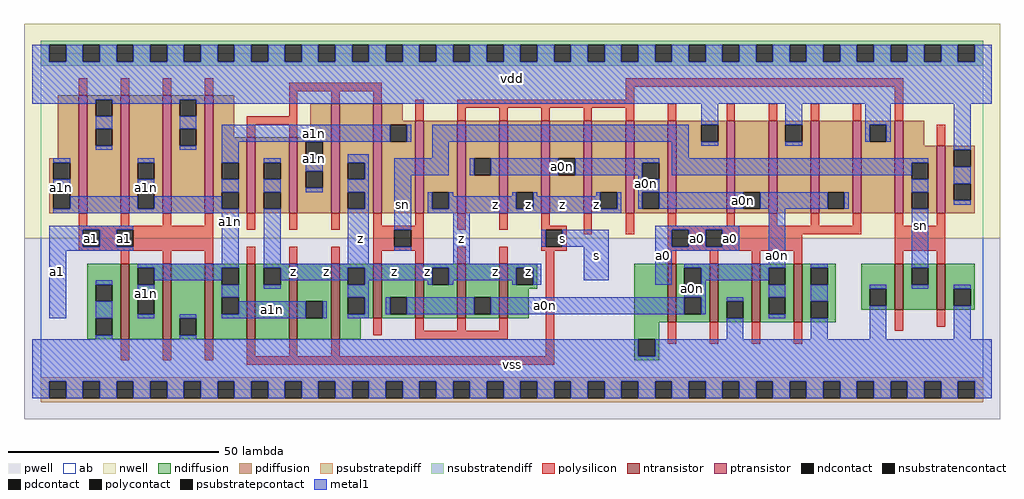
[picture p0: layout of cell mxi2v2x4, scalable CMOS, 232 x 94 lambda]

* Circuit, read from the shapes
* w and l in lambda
.subckt mxi2v2x4 a0 a0n a1 a1n s sn vdd vss z
M1 a1n a1 vss vss nfet w=18 l=2 m=3
M2 z s a1n vss nfet w=18 l=2 m=3
M3 a0n sn z vss nfet w=13 l=2 m=4
M4 a0n a0 vss vss nfet w=14 l=2 m=4
M5 sn s vss vss nfet w=11 l=2 m=2
M6 vdd a1 a1n vdd pfet w=28 l=2 m=4
M7 z sn a1n vdd pfet w=18 l=2 m=2
M8 z sn a1n vdd pfet w=26 l=2 m=2
M9 z sn a1n vdd pfet w=22 l=2
M10 a0n s z vdd pfet w=22 l=2 m=5
M11 vdd a0 a0n vdd pfet w=22 l=2 m=5
M12 sn s vdd vdd pfet w=22 l=2
M13 vdd s sn vdd pfet w=16 l=2
.ends

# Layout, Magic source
magic
tech scmos
<< ab >>
rect 0 0 224 80
<< pwell >>
rect -4 -7 228 36
<< nwell >>
rect -4 36 228 87
<< polysilicon >>
rect 9 70 11 74
rect 19 70 21 74
rect 29 70 31 74
rect 39 70 41 74
rect 59 71 81 73
rect 59 65 61 71
rect 69 68 71 71
rect 79 68 81 71
rect 139 72 205 74
rect 139 69 141 72
rect 49 63 61 65
rect 49 60 51 63
rect 59 60 61 63
rect 89 64 91 69
rect 99 67 141 69
rect 99 64 101 67
rect 109 64 111 67
rect 119 64 121 67
rect 129 64 131 67
rect 139 64 141 67
rect 149 64 151 68
rect 163 64 165 68
rect 173 64 175 68
rect 183 64 185 68
rect 193 64 195 68
rect 203 64 205 72
rect 213 58 215 63
rect 9 39 11 42
rect 19 39 21 42
rect 29 39 31 42
rect 39 39 41 42
rect 9 38 41 39
rect 49 38 51 42
rect 59 38 61 42
rect 69 38 71 42
rect 79 39 81 42
rect 89 39 91 42
rect 79 38 91 39
rect 99 38 101 42
rect 109 38 111 42
rect 119 39 121 42
rect 119 38 125 39
rect 9 34 10 38
rect 14 34 18 38
rect 22 34 41 38
rect 79 34 84 38
rect 88 34 91 38
rect 119 34 120 38
rect 124 34 125 38
rect 129 37 131 42
rect 139 37 141 42
rect 149 39 151 42
rect 163 39 165 42
rect 173 39 175 42
rect 183 39 185 42
rect 193 39 195 42
rect 149 38 195 39
rect 9 33 41 34
rect 19 30 21 33
rect 29 30 31 33
rect 39 30 41 33
rect 49 30 51 34
rect 59 30 61 34
rect 69 30 71 34
rect 79 33 91 34
rect 79 30 81 33
rect 89 30 91 33
rect 99 30 101 34
rect 109 30 111 34
rect 119 33 125 34
rect 149 34 150 38
rect 154 34 158 38
rect 162 37 195 38
rect 203 39 205 42
rect 213 39 215 42
rect 162 34 181 37
rect 149 33 181 34
rect 79 13 81 17
rect 89 14 91 17
rect 99 14 101 17
rect 109 14 111 17
rect 89 12 111 14
rect 19 7 21 12
rect 29 7 31 12
rect 39 7 41 12
rect 49 8 51 12
rect 59 8 61 12
rect 69 8 71 12
rect 120 8 122 33
rect 149 30 151 33
rect 159 30 161 33
rect 169 30 171 33
rect 179 30 181 33
rect 203 33 215 39
rect 203 30 205 33
rect 213 30 215 33
rect 49 6 122 8
rect 149 11 151 16
rect 159 11 161 16
rect 169 11 171 16
rect 179 11 181 16
rect 203 14 205 19
rect 213 15 215 19
<< ndiffusion >>
rect 11 25 19 30
rect 11 21 13 25
rect 17 21 19 25
rect 11 17 19 21
rect 11 13 13 17
rect 17 13 19 17
rect 11 12 19 13
rect 21 29 29 30
rect 21 25 23 29
rect 27 25 29 29
rect 21 22 29 25
rect 21 18 23 22
rect 27 18 29 22
rect 21 12 29 18
rect 31 17 39 30
rect 31 13 33 17
rect 37 13 39 17
rect 31 12 39 13
rect 41 29 49 30
rect 41 25 43 29
rect 47 25 49 29
rect 41 22 49 25
rect 41 18 43 22
rect 47 18 49 22
rect 41 12 49 18
rect 51 29 59 30
rect 51 25 53 29
rect 57 25 59 29
rect 51 12 59 25
rect 61 21 69 30
rect 61 17 63 21
rect 67 17 69 21
rect 61 12 69 17
rect 71 29 79 30
rect 71 25 73 29
rect 77 25 79 29
rect 71 22 79 25
rect 71 18 73 22
rect 77 18 79 22
rect 71 17 79 18
rect 81 22 89 30
rect 81 18 83 22
rect 87 18 89 22
rect 81 17 89 18
rect 91 29 99 30
rect 91 25 93 29
rect 97 25 99 29
rect 91 17 99 25
rect 101 22 109 30
rect 101 18 103 22
rect 107 18 109 22
rect 101 17 109 18
rect 111 29 118 30
rect 111 25 113 29
rect 117 25 118 29
rect 111 24 118 25
rect 111 17 116 24
rect 71 12 76 17
rect 141 16 149 30
rect 151 29 159 30
rect 151 25 153 29
rect 157 25 159 29
rect 151 22 159 25
rect 151 18 153 22
rect 157 18 159 22
rect 151 16 159 18
rect 161 21 169 30
rect 161 17 163 21
rect 167 17 169 21
rect 161 16 169 17
rect 171 29 179 30
rect 171 25 173 29
rect 177 25 179 29
rect 171 22 179 25
rect 171 18 173 22
rect 177 18 179 22
rect 171 16 179 18
rect 181 29 189 30
rect 181 25 183 29
rect 187 25 189 29
rect 181 21 189 25
rect 181 17 183 21
rect 187 17 189 21
rect 195 24 203 30
rect 195 20 197 24
rect 201 20 203 24
rect 195 19 203 20
rect 205 29 213 30
rect 205 25 207 29
rect 211 25 213 29
rect 205 19 213 25
rect 215 24 222 30
rect 215 20 217 24
rect 221 20 222 24
rect 215 19 222 20
rect 181 16 189 17
rect 141 12 147 16
rect 141 8 142 12
rect 146 8 147 12
rect 141 7 147 8
<< pdiffusion >>
rect 4 55 9 70
rect 2 54 9 55
rect 2 50 3 54
rect 7 50 9 54
rect 2 47 9 50
rect 2 43 3 47
rect 7 43 9 47
rect 2 42 9 43
rect 11 69 19 70
rect 11 65 13 69
rect 17 65 19 69
rect 11 62 19 65
rect 11 58 13 62
rect 17 58 19 62
rect 11 42 19 58
rect 21 54 29 70
rect 21 50 23 54
rect 27 50 29 54
rect 21 47 29 50
rect 21 43 23 47
rect 27 43 29 47
rect 21 42 29 43
rect 31 69 39 70
rect 31 65 33 69
rect 37 65 39 69
rect 31 62 39 65
rect 31 58 33 62
rect 37 58 39 62
rect 31 42 39 58
rect 41 60 46 70
rect 64 60 69 68
rect 41 54 49 60
rect 41 50 43 54
rect 47 50 49 54
rect 41 47 49 50
rect 41 43 43 47
rect 47 43 49 47
rect 41 42 49 43
rect 51 54 59 60
rect 51 50 53 54
rect 57 50 59 54
rect 51 47 59 50
rect 51 43 53 47
rect 57 43 59 47
rect 51 42 59 43
rect 61 59 69 60
rect 61 55 63 59
rect 67 55 69 59
rect 61 52 69 55
rect 61 48 63 52
rect 67 48 69 52
rect 61 42 69 48
rect 71 54 79 68
rect 71 50 73 54
rect 77 50 79 54
rect 71 47 79 50
rect 71 43 73 47
rect 77 43 79 47
rect 71 42 79 43
rect 81 64 86 68
rect 81 63 89 64
rect 81 59 83 63
rect 87 59 89 63
rect 81 42 89 59
rect 91 47 99 64
rect 91 43 93 47
rect 97 43 99 47
rect 91 42 99 43
rect 101 55 109 64
rect 101 51 103 55
rect 107 51 109 55
rect 101 42 109 51
rect 111 47 119 64
rect 111 43 113 47
rect 117 43 119 47
rect 111 42 119 43
rect 121 55 129 64
rect 121 51 123 55
rect 127 51 129 55
rect 121 42 129 51
rect 131 47 139 64
rect 131 43 133 47
rect 137 43 139 47
rect 131 42 139 43
rect 141 54 149 64
rect 141 50 143 54
rect 147 50 149 54
rect 141 47 149 50
rect 141 43 143 47
rect 147 43 149 47
rect 141 42 149 43
rect 151 63 163 64
rect 151 59 157 63
rect 161 59 163 63
rect 151 42 163 59
rect 165 47 173 64
rect 165 43 167 47
rect 171 43 173 47
rect 165 42 173 43
rect 175 63 183 64
rect 175 59 177 63
rect 181 59 183 63
rect 175 42 183 59
rect 185 47 193 64
rect 185 43 187 47
rect 191 43 193 47
rect 185 42 193 43
rect 195 63 203 64
rect 195 59 197 63
rect 201 59 203 63
rect 195 42 203 59
rect 205 58 210 64
rect 205 54 213 58
rect 205 50 207 54
rect 211 50 213 54
rect 205 47 213 50
rect 205 43 207 47
rect 211 43 213 47
rect 205 42 213 43
rect 215 57 222 58
rect 215 53 217 57
rect 221 53 222 57
rect 215 49 222 53
rect 215 45 217 49
rect 221 45 222 49
rect 215 42 222 45
<< metal1 >>
rect -2 78 2 82
rect 6 78 10 82
rect 14 78 18 82
rect 22 78 26 82
rect 30 78 34 82
rect 38 78 42 82
rect 46 78 50 82
rect 54 78 58 82
rect 62 78 66 82
rect 70 78 74 82
rect 78 78 82 82
rect 86 78 90 82
rect 94 78 98 82
rect 102 78 106 82
rect 110 78 114 82
rect 118 78 122 82
rect 126 78 130 82
rect 134 78 138 82
rect 142 78 146 82
rect 150 78 154 82
rect 158 78 162 82
rect 166 78 170 82
rect 174 78 178 82
rect 182 78 186 82
rect 190 78 194 82
rect 198 78 202 82
rect 206 78 210 82
rect 214 78 218 82
rect 222 78 226 82
rect -2 69 226 78
rect -2 68 13 69
rect 17 68 33 69
rect 13 62 17 65
rect 13 57 17 58
rect 37 68 226 69
rect 33 62 37 65
rect 157 63 161 68
rect 33 57 37 58
rect 43 59 83 63
rect 87 59 88 63
rect 93 59 154 63
rect 3 54 7 55
rect 3 47 7 50
rect 23 54 27 55
rect 23 47 27 50
rect 7 43 23 46
rect 43 54 47 59
rect 43 47 47 50
rect 27 43 43 46
rect 3 42 47 43
rect 2 38 22 39
rect 2 34 10 38
rect 14 34 18 38
rect 2 33 22 34
rect 2 17 6 33
rect 43 30 47 42
rect 23 29 47 30
rect 13 25 17 26
rect 13 17 17 21
rect 27 26 43 29
rect 23 22 27 25
rect 43 22 47 25
rect 53 54 57 55
rect 53 47 57 50
rect 63 52 67 55
rect 63 47 67 48
rect 73 54 78 56
rect 93 55 97 59
rect 150 55 154 59
rect 157 58 161 59
rect 177 63 181 68
rect 196 63 202 68
rect 196 59 197 63
rect 201 59 202 63
rect 177 58 181 59
rect 217 57 221 68
rect 77 50 78 54
rect 73 47 78 50
rect 53 30 57 43
rect 77 43 78 47
rect 73 30 78 43
rect 84 51 97 55
rect 102 51 103 55
rect 107 51 123 55
rect 127 54 147 55
rect 127 51 143 54
rect 84 38 88 51
rect 142 50 143 51
rect 150 54 211 55
rect 150 51 207 54
rect 142 47 147 50
rect 207 47 211 50
rect 92 43 93 47
rect 97 46 98 47
rect 112 46 113 47
rect 97 43 113 46
rect 117 46 118 47
rect 132 46 133 47
rect 117 43 133 46
rect 137 43 138 47
rect 142 43 143 47
rect 147 43 167 47
rect 171 43 187 47
rect 191 43 192 47
rect 217 49 221 53
rect 217 44 221 45
rect 92 42 138 43
rect 84 33 88 34
rect 98 30 102 42
rect 146 38 166 39
rect 119 34 120 38
rect 124 34 135 38
rect 53 29 119 30
rect 57 26 73 29
rect 53 24 57 25
rect 77 26 93 29
rect 77 25 78 26
rect 92 25 93 26
rect 97 26 113 29
rect 97 25 98 26
rect 112 25 113 26
rect 117 25 119 29
rect 129 26 135 34
rect 146 34 150 38
rect 154 34 158 38
rect 162 34 166 38
rect 146 33 166 34
rect 146 25 150 33
rect 173 30 177 43
rect 153 29 177 30
rect 157 26 173 29
rect 157 25 158 26
rect 73 22 78 25
rect 153 22 158 25
rect 173 22 177 25
rect 47 18 63 21
rect 23 17 27 18
rect 33 17 37 18
rect 43 17 63 18
rect 67 17 68 21
rect 77 18 78 22
rect 82 18 83 22
rect 87 18 103 22
rect 107 18 153 22
rect 157 18 158 22
rect 163 21 167 22
rect 73 17 78 18
rect 173 17 177 18
rect 183 29 187 30
rect 207 29 211 43
rect 183 21 187 25
rect 13 12 17 13
rect 33 12 37 13
rect 163 12 167 17
rect 183 12 187 17
rect 197 24 201 25
rect 207 24 211 25
rect 217 24 221 25
rect 197 12 201 20
rect 217 12 221 20
rect -2 8 142 12
rect 146 8 226 12
rect -2 2 226 8
rect -2 -2 2 2
rect 6 -2 10 2
rect 14 -2 18 2
rect 22 -2 26 2
rect 30 -2 34 2
rect 38 -2 42 2
rect 46 -2 50 2
rect 54 -2 58 2
rect 62 -2 66 2
rect 70 -2 74 2
rect 78 -2 82 2
rect 86 -2 90 2
rect 94 -2 98 2
rect 102 -2 106 2
rect 110 -2 114 2
rect 118 -2 122 2
rect 126 -2 130 2
rect 134 -2 138 2
rect 142 -2 146 2
rect 150 -2 154 2
rect 158 -2 162 2
rect 166 -2 170 2
rect 174 -2 178 2
rect 182 -2 186 2
rect 190 -2 194 2
rect 198 -2 202 2
rect 206 -2 210 2
rect 214 -2 218 2
rect 222 -2 226 2
<< ntransistor >>
rect 19 12 21 30
rect 29 12 31 30
rect 39 12 41 30
rect 49 12 51 30
rect 59 12 61 30
rect 69 12 71 30
rect 79 17 81 30
rect 89 17 91 30
rect 99 17 101 30
rect 109 17 111 30
rect 149 16 151 30
rect 159 16 161 30
rect 169 16 171 30
rect 179 16 181 30
rect 203 19 205 30
rect 213 19 215 30
<< ptransistor >>
rect 9 42 11 70
rect 19 42 21 70
rect 29 42 31 70
rect 39 42 41 70
rect 49 42 51 60
rect 59 42 61 60
rect 69 42 71 68
rect 79 42 81 68
rect 89 42 91 64
rect 99 42 101 64
rect 109 42 111 64
rect 119 42 121 64
rect 129 42 131 64
rect 139 42 141 64
rect 149 42 151 64
rect 163 42 165 64
rect 173 42 175 64
rect 183 42 185 64
rect 193 42 195 64
rect 203 42 205 64
rect 213 42 215 58
<< polycontact >>
rect 10 34 14 38
rect 18 34 22 38
rect 84 34 88 38
rect 120 34 124 38
rect 150 34 154 38
rect 158 34 162 38
<< ndcontact >>
rect 13 21 17 25
rect 13 13 17 17
rect 23 25 27 29
rect 23 18 27 22
rect 33 13 37 17
rect 43 25 47 29
rect 43 18 47 22
rect 53 25 57 29
rect 63 17 67 21
rect 73 25 77 29
rect 73 18 77 22
rect 83 18 87 22
rect 93 25 97 29
rect 103 18 107 22
rect 113 25 117 29
rect 153 25 157 29
rect 153 18 157 22
rect 163 17 167 21
rect 173 25 177 29
rect 173 18 177 22
rect 183 25 187 29
rect 183 17 187 21
rect 197 20 201 24
rect 207 25 211 29
rect 217 20 221 24
rect 142 8 146 12
<< pdcontact >>
rect 3 50 7 54
rect 3 43 7 47
rect 13 65 17 69
rect 13 58 17 62
rect 23 50 27 54
rect 23 43 27 47
rect 33 65 37 69
rect 33 58 37 62
rect 43 50 47 54
rect 43 43 47 47
rect 53 50 57 54
rect 53 43 57 47
rect 63 55 67 59
rect 63 48 67 52
rect 73 50 77 54
rect 73 43 77 47
rect 83 59 87 63
rect 93 43 97 47
rect 103 51 107 55
rect 113 43 117 47
rect 123 51 127 55
rect 133 43 137 47
rect 143 50 147 54
rect 143 43 147 47
rect 157 59 161 63
rect 167 43 171 47
rect 177 59 181 63
rect 187 43 191 47
rect 197 59 201 63
rect 207 50 211 54
rect 207 43 211 47
rect 217 53 221 57
rect 217 45 221 49
<< psubstratepcontact >>
rect 2 -2 6 2
rect 10 -2 14 2
rect 18 -2 22 2
rect 26 -2 30 2
rect 34 -2 38 2
rect 42 -2 46 2
rect 50 -2 54 2
rect 58 -2 62 2
rect 66 -2 70 2
rect 74 -2 78 2
rect 82 -2 86 2
rect 90 -2 94 2
rect 98 -2 102 2
rect 106 -2 110 2
rect 114 -2 118 2
rect 122 -2 126 2
rect 130 -2 134 2
rect 138 -2 142 2
rect 146 -2 150 2
rect 154 -2 158 2
rect 162 -2 166 2
rect 170 -2 174 2
rect 178 -2 182 2
rect 186 -2 190 2
rect 194 -2 198 2
rect 202 -2 206 2
rect 210 -2 214 2
rect 218 -2 222 2
<< nsubstratencontact >>
rect 2 78 6 82
rect 10 78 14 82
rect 18 78 22 82
rect 26 78 30 82
rect 34 78 38 82
rect 42 78 46 82
rect 50 78 54 82
rect 58 78 62 82
rect 66 78 70 82
rect 74 78 78 82
rect 82 78 86 82
rect 90 78 94 82
rect 98 78 102 82
rect 106 78 110 82
rect 114 78 118 82
rect 122 78 126 82
rect 130 78 134 82
rect 138 78 142 82
rect 146 78 150 82
rect 154 78 158 82
rect 162 78 166 82
rect 170 78 174 82
rect 178 78 182 82
rect 186 78 190 82
rect 194 78 198 82
rect 202 78 206 82
rect 210 78 214 82
rect 218 78 222 82
<< psubstratepdiff >>
rect 0 2 224 3
rect 0 -2 2 2
rect 6 -2 10 2
rect 14 -2 18 2
rect 22 -2 26 2
rect 30 -2 34 2
rect 38 -2 42 2
rect 46 -2 50 2
rect 54 -2 58 2
rect 62 -2 66 2
rect 70 -2 74 2
rect 78 -2 82 2
rect 86 -2 90 2
rect 94 -2 98 2
rect 102 -2 106 2
rect 110 -2 114 2
rect 118 -2 122 2
rect 126 -2 130 2
rect 134 -2 138 2
rect 142 -2 146 2
rect 150 -2 154 2
rect 158 -2 162 2
rect 166 -2 170 2
rect 174 -2 178 2
rect 182 -2 186 2
rect 190 -2 194 2
rect 198 -2 202 2
rect 206 -2 210 2
rect 214 -2 218 2
rect 222 -2 224 2
rect 0 -3 224 -2
<< nsubstratendiff >>
rect 0 82 224 83
rect 0 78 2 82
rect 6 78 10 82
rect 14 78 18 82
rect 22 78 26 82
rect 30 78 34 82
rect 38 78 42 82
rect 46 78 50 82
rect 54 78 58 82
rect 62 78 66 82
rect 70 78 74 82
rect 78 78 82 82
rect 86 78 90 82
rect 94 78 98 82
rect 102 78 106 82
rect 110 78 114 82
rect 118 78 122 82
rect 126 78 130 82
rect 134 78 138 82
rect 142 78 146 82
rect 150 78 154 82
rect 158 78 162 82
rect 166 78 170 82
rect 174 78 178 82
rect 182 78 186 82
rect 190 78 194 82
rect 198 78 202 82
rect 206 78 210 82
rect 214 78 218 82
rect 222 78 224 82
rect 0 77 224 78
<< labels >>
rlabel metal1 4 28 4 28 6 a1
rlabel metal1 25 23 25 23 6 a1n
rlabel polycontact 12 36 12 36 6 a1
rlabel polycontact 20 36 20 36 6 a1
rlabel metal1 5 48 5 48 6 a1n
rlabel metal1 25 48 25 48 6 a1n
rlabel metal1 55 19 55 19 6 a1n
rlabel metal1 68 28 68 28 6 z
rlabel metal1 60 28 60 28 6 z
rlabel metal1 65 55 65 55 6 a1n
rlabel metal1 45 40 45 40 6 a1n
rlabel metal1 84 28 84 28 6 z
rlabel metal1 92 28 92 28 6 z
rlabel metal1 108 28 108 28 6 z
rlabel metal1 76 36 76 36 6 z
rlabel metal1 100 36 100 36 6 z
rlabel metal1 108 44 108 44 6 z
rlabel metal1 86 44 86 44 6 sn
rlabel metal1 65 61 65 61 6 a1n
rlabel metal1 112 6 112 6 6 vss
rlabel ndcontact 116 28 116 28 6 z
rlabel metal1 148 32 148 32 6 a0
rlabel metal1 124 36 124 36 6 s
rlabel metal1 132 32 132 32 6 s
rlabel metal1 132 44 132 44 6 z
rlabel metal1 124 44 124 44 6 z
rlabel pdcontact 116 44 116 44 6 z
rlabel metal1 144 49 144 49 6 a0n
rlabel pdcontact 124 53 124 53 6 a0n
rlabel metal1 112 74 112 74 6 vdd
rlabel metal1 120 20 120 20 6 a0n
rlabel metal1 155 24 155 24 6 a0n
rlabel metal1 164 36 164 36 6 a0
rlabel metal1 156 36 156 36 6 a0
rlabel metal1 175 32 175 32 6 a0n
rlabel metal1 167 45 167 45 6 a0n
rlabel metal1 209 39 209 39 6 sn
<< end >>
